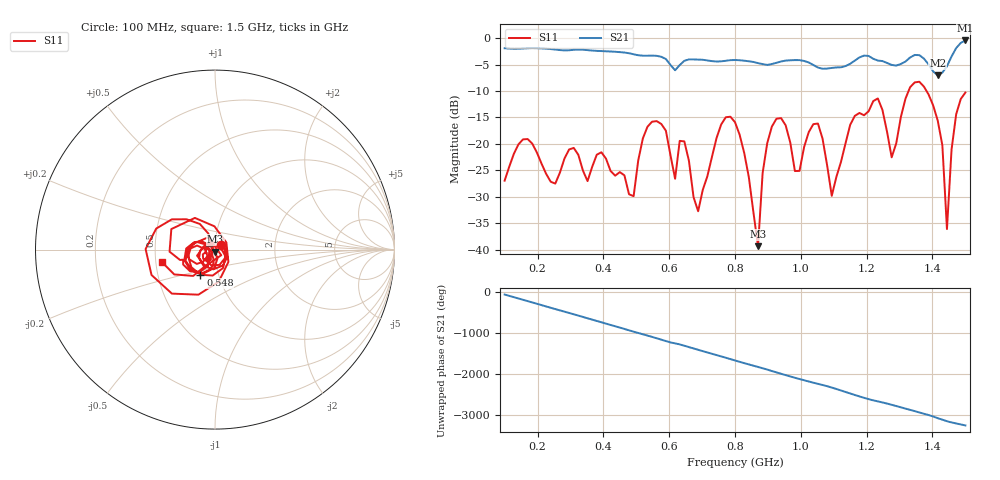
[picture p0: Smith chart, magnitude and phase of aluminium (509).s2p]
! NanoVNA-App
! Date: 2025-09-25 14:59:14
! Start: 100MHz Stop: 1,5GHz Points: 101
! S-Parameter data: F S11 S21 S12 S22
# Hz S RI R 50
!  Frequency  S11_Real  S11_Imag  S21_Real  S21_Imag  S12_Real  S12_Imag  S22_Real  S22_Imag
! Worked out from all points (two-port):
!   101 points, 100 MHz to 1.5 GHz, reference 50 ohm
!   highest |S21| = -0.45 dB at 1.5 GHz (marker M1); lowest = -7.1 dB at 1.416 GHz (marker M2)
!   |S21| within 3 dB of the highest: start of sweep to 569.6 MHz; 1.458 GHz to end of sweep (the widest 2 of 4)
!   lowest |S11| = -39.3 dB at 870 MHz (marker M3), VSWR 1.02, Z = 50.2 - j1.07 ohm
!   |S11| at or under -10 dB: start of sweep to 1.327 GHz; 1.382 GHz to end of sweep
!   S12 and S22 are empty: the file has one direction only
!   S11 on the Smith chart (normalised r, x): 100 MHz: 1.07, +0.06; 548 MHz: 0.82, -0.24; 1.5 GHz: 0.54, -0.08
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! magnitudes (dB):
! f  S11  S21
! 100 MHz  -27.0  -1.9
! 156 MHz  -19.1  -2.0
! 338 MHz  -25.0  -2.2
! 492 MHz  -29.9  -3.1
! 548 MHz  -15.8  -3.3
! 576 MHz  -16.2  -3.5
! 618 MHz  -26.6  -6.1
! 646 MHz  -19.5  -4.3
! 688 MHz  -32.7  -4.1
! 800 MHz  -15.9  -4.1
! 870 MHz  -39.3  -4.7
! 912 MHz  -16.7  -4.9
! 996 MHz  -25.1  -4.2
! 1.038 GHz  -16.3  -5.1
! 1.094 GHz  -29.8  -5.6
! 1.22 GHz  -11.9  -3.9
! 1.276 GHz  -22.5  -5.1
! 1.346 GHz  -8.4  -3.2
! 1.416 GHz  -15.6  -7.1
! 1.444 GHz  -36.1  -5.3
! 1.472 GHz  -14.4  -1.9
! 1.5 GHz  -10.3  -0.5
